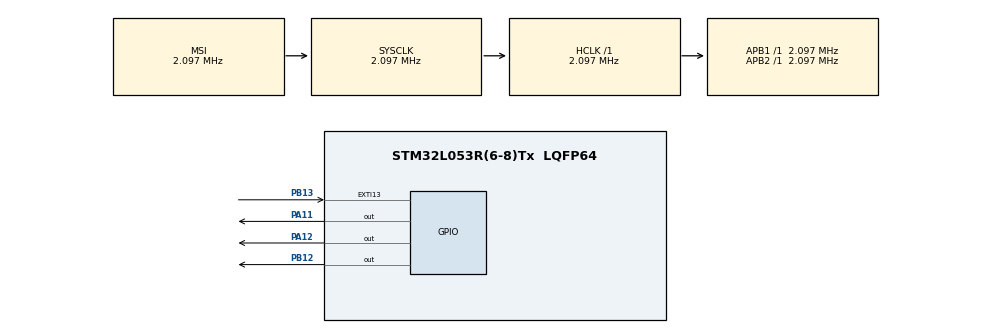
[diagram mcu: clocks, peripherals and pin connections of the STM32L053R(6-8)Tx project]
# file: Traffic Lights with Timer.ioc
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Mcu.Family=STM32L0
Mcu.Name=STM32L053R(6-8)Tx
Mcu.Package=LQFP64
NVIC.EXTI4_15_IRQn=true\:0\:0\:false\:false\:true\:true\:true
NVIC.TIM2_IRQn=true\:0\:0\:false\:false\:true\:true\:true
PA11.Signal=GPIO_Output
PA12.Signal=GPIO_Output
PB12.Signal=GPIO_Output
PB13.Signal=GPXTI13
ProjectManager.HeapSize=0x200
ProjectManager.StackSize=0x400
ProjectManager.TargetToolchain=STM32CubeIDE
RCC.AHBFreq_Value=2097000
RCC.APB1Freq_Value=2097000
RCC.APB1TimFreq_Value=2097000
RCC.APB2Freq_Value=2097000
RCC.APB2TimFreq_Value=2097000
RCC.HCLKFreq_Value=2097000
RCC.HSE_VALUE=8000000
RCC.HSI16_VALUE=16000000
RCC.HSI48_VALUE=48000000
RCC.HSI_VALUE=16000000
RCC.LSE_VALUE=32768
RCC.MSI_VALUE=2097000
RCC.SYSCLKFreq_VALUE=2097000
RCC.VCOOutputFreq_Value=48000000
TIM2.Period=999
TIM2.Prescaler=2097
VP_TIM2_VS_ClockSourceINT.Mode=Internal
board=custom

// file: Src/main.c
/* USER CODE BEGIN Header */
/**
  ******************************************************************************
  * @file           : main.c
  * @brief          : Main program body
  ******************************************************************************
  * @attention
  *
  * <h2><center>&copy; Copyright (c) 2019 STMicroelectronics.
  * All rights reserved.</center></h2>
  *
  * This software component is licensed by ST under BSD 3-Clause license,
  * the "License"; You may not use this file except in compliance with the
  * License. You may obtain a copy of the License at:
  *                        opensource.org/licenses/BSD-3-Clause
  *
  ******************************************************************************
  */
/* USER CODE END Header */

#include "main.h"

TIM_HandleTypeDef htim2;

/* USER CODE BEGIN PV */
uint16_t counter;
int state;
/* USER CODE END PV */

void SystemClock_Config(void);
static void MX_GPIO_Init(void);
static void MX_TIM2_Init(void);

int main(void)
{

  /* MCU Configuration--------------------------------------------------------*/

  /* Reset of all peripherals, Initializes the Flash interface and the Systick. */
  HAL_Init();

  /* Configure the system clock */
  SystemClock_Config();

  /* Initialize all configured peripherals */
  MX_GPIO_Init();
  MX_TIM2_Init();
  /* USER CODE BEGIN 2 */
  counter = 0;
  HAL_TIM_Base_Start_IT(&htim2);
  state = 1;
  HAL_GPIO_WritePin(GPIOB, GPIO_PIN_12, GPIO_PIN_SET); // Green Led.
  /* USER CODE END 2 */

  /* Infinite loop */
  /* USER CODE BEGIN WHILE */
  while (1)
  {
	  switch(state){
	  	  case 1:
	  		  // State 1.
	  		  if(counter == 10){
	  			  HAL_GPIO_WritePin(GPIOB, GPIO_PIN_12, GPIO_PIN_RESET); // Green Led.
	  			  state++;
	  			  counter = 0;
	  			  HAL_GPIO_WritePin(GPIOA, GPIO_PIN_11, GPIO_PIN_SET); // Yellow Led.
	  		  }
	  		  break;

	  	  case 2:
	  		// State 2.
	  		  if(counter == 3){
	  			HAL_GPIO_WritePin(GPIOA, GPIO_PIN_11, GPIO_PIN_RESET); // Yellow Led.
	  			state++;
	  			counter = 0;
	  			HAL_GPIO_WritePin(GPIOA, GPIO_PIN_12, GPIO_PIN_SET); // Red Led.
	  		  }
	  		  break;

	  	  case 3:
	  		  // State 3.
	  		  if(counter == 6){
	  			  HAL_GPIO_WritePin(GPIOA, GPIO_PIN_12, GPIO_PIN_RESET); // Red Led.
	  			  state++;
	  			  counter = 0;
	  			  HAL_GPIO_WritePin(GPIOA, GPIO_PIN_11, GPIO_PIN_SET); // Yellow Led.
	  			  HAL_GPIO_WritePin(GPIOA, GPIO_PIN_12, GPIO_PIN_SET); // Red Led.
	  		  }
	  		  break;

	  	  case 4:
	  		  // State 4.
	  		  if(counter == 2){
	  			HAL_GPIO_WritePin(GPIOA, GPIO_PIN_11, GPIO_PIN_RESET); // Yellow Led.
	  			HAL_GPIO_WritePin(GPIOA, GPIO_PIN_12, GPIO_PIN_RESET); // Red Led.
	  			state = 1;
	  			counter = 0;
	  			HAL_GPIO_WritePin(GPIOB, GPIO_PIN_12, GPIO_PIN_SET); // Green Led.
	  		  }
	  		  break;

	  }

    /* USER CODE END WHILE */

  }
}

void SystemClock_Config(void)
{
  RCC_OscInitTypeDef RCC_OscInitStruct = {0};
  RCC_ClkInitTypeDef RCC_ClkInitStruct = {0};

  /** Configure the main internal regulator output voltage
  */
  __HAL_PWR_VOLTAGESCALING_CONFIG(PWR_REGULATOR_VOLTAGE_SCALE1);
  /** Initializes the CPU, AHB and APB busses clocks
  */
  RCC_OscInitStruct.OscillatorType = RCC_OSCILLATORTYPE_MSI;
  RCC_OscInitStruct.MSIState = RCC_MSI_ON;
  RCC_OscInitStruct.MSICalibrationValue = 0;
  RCC_OscInitStruct.MSIClockRange = RCC_MSIRANGE_5;
  RCC_OscInitStruct.PLL.PLLState = RCC_PLL_NONE;
  if (HAL_RCC_OscConfig(&RCC_OscInitStruct) != HAL_OK)
  {
    Error_Handler();
  }
  /** Initializes the CPU, AHB and APB busses clocks
  */
  RCC_ClkInitStruct.ClockType = RCC_CLOCKTYPE_HCLK|RCC_CLOCKTYPE_SYSCLK
                              |RCC_CLOCKTYPE_PCLK1|RCC_CLOCKTYPE_PCLK2;
  RCC_ClkInitStruct.SYSCLKSource = RCC_SYSCLKSOURCE_MSI;
  RCC_ClkInitStruct.AHBCLKDivider = RCC_SYSCLK_DIV1;
  RCC_ClkInitStruct.APB1CLKDivider = RCC_HCLK_DIV1;
  RCC_ClkInitStruct.APB2CLKDivider = RCC_HCLK_DIV1;

  if (HAL_RCC_ClockConfig(&RCC_ClkInitStruct, FLASH_LATENCY_0) != HAL_OK)
  {
    Error_Handler();
  }
}

static void MX_TIM2_Init(void)
{

  TIM_ClockConfigTypeDef sClockSourceConfig = {0};
  TIM_MasterConfigTypeDef sMasterConfig = {0};

  htim2.Instance = TIM2;
  htim2.Init.Prescaler = 2097;
  htim2.Init.CounterMode = TIM_COUNTERMODE_UP;
  htim2.Init.Period = 999;
  htim2.Init.ClockDivision = TIM_CLOCKDIVISION_DIV1;
  htim2.Init.AutoReloadPreload = TIM_AUTORELOAD_PRELOAD_DISABLE;
  if (HAL_TIM_Base_Init(&htim2) != HAL_OK)
  {
    Error_Handler();
  }
  sClockSourceConfig.ClockSource = TIM_CLOCKSOURCE_INTERNAL;
  if (HAL_TIM_ConfigClockSource(&htim2, &sClockSourceConfig) != HAL_OK)
  {
    Error_Handler();
  }
  sMasterConfig.MasterOutputTrigger = TIM_TRGO_RESET;
  sMasterConfig.MasterSlaveMode = TIM_MASTERSLAVEMODE_DISABLE;
  if (HAL_TIMEx_MasterConfigSynchronization(&htim2, &sMasterConfig) != HAL_OK)
  {
    Error_Handler();
  }

}

static void MX_GPIO_Init(void)
{
  GPIO_InitTypeDef GPIO_InitStruct = {0};

  /* GPIO Ports Clock Enable */
  __HAL_RCC_GPIOB_CLK_ENABLE();
  __HAL_RCC_GPIOA_CLK_ENABLE();

  /*Configure GPIO pin Output Level */
  HAL_GPIO_WritePin(GPIOB, GPIO_PIN_12, GPIO_PIN_RESET);

  /*Configure GPIO pin Output Level */
  HAL_GPIO_WritePin(GPIOA, GPIO_PIN_11|GPIO_PIN_12, GPIO_PIN_RESET);

  /*Configure GPIO pin : PB12 */
  GPIO_InitStruct.Pin = GPIO_PIN_12;
  GPIO_InitStruct.Mode = GPIO_MODE_OUTPUT_PP;
  GPIO_InitStruct.Pull = GPIO_NOPULL;
  GPIO_InitStruct.Speed = GPIO_SPEED_FREQ_LOW;
  HAL_GPIO_Init(GPIOB, &GPIO_InitStruct);

  /*Configure GPIO pin : PB13 */
  GPIO_InitStruct.Pin = GPIO_PIN_13;
  GPIO_InitStruct.Mode = GPIO_MODE_IT_RISING;
  GPIO_InitStruct.Pull = GPIO_NOPULL;
  HAL_GPIO_Init(GPIOB, &GPIO_InitStruct);

  /*Configure GPIO pins : PA11 PA12 */
  GPIO_InitStruct.Pin = GPIO_PIN_11|GPIO_PIN_12;
  GPIO_InitStruct.Mode = GPIO_MODE_OUTPUT_PP;
  GPIO_InitStruct.Pull = GPIO_NOPULL;
  GPIO_InitStruct.Speed = GPIO_SPEED_FREQ_LOW;
  HAL_GPIO_Init(GPIOA, &GPIO_InitStruct);

  /* EXTI interrupt init*/
  HAL_NVIC_SetPriority(EXTI4_15_IRQn, 0, 0);
  HAL_NVIC_EnableIRQ(EXTI4_15_IRQn);

}

/* USER CODE BEGIN 4 */
void HAL_GPIO_EXTI_Callback(uint16_t GPIO_Pin)
{
	if(GPIO_Pin == GPIO_PIN_13){
		if(state == 1){
				if(counter > 5){
					counter = 10; // If 5 seconds already passed then finish state 1.
				}
				if(counter < 5){
					counter = 5; // If 5 seconds did not already pass then set counter to count 5 seconds.
				}
		}
	}
	__HAL_GPIO_EXTI_CLEAR_IT(GPIO_Pin);
}
/* USER CODE END 4 */

void Error_Handler(void)
{
}

/************************ (C) COPYRIGHT STMicroelectronics *****END OF FILE****/
